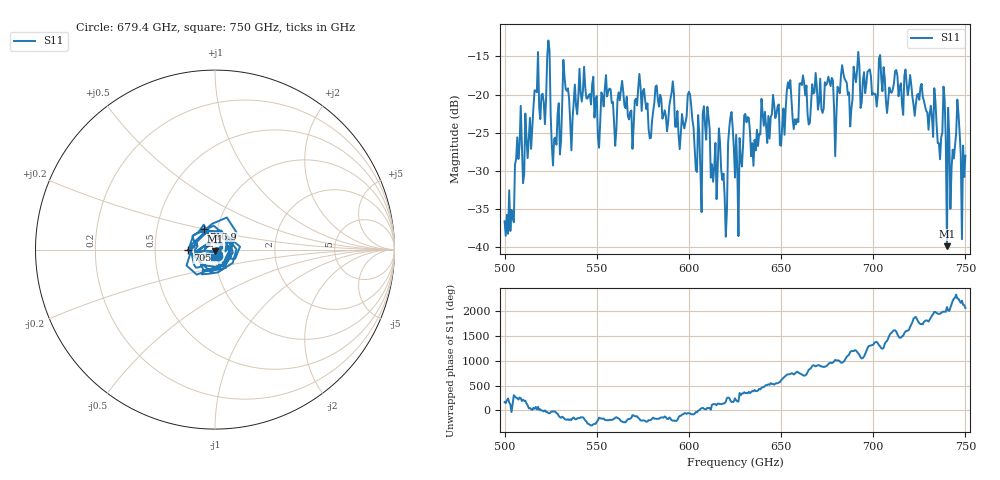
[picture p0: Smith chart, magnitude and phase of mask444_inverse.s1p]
!Created with skrf (http://scikit-rf.org).
# GHz S MA R 50.0
!freq magS11 angS11
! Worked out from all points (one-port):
!   401 points, 500 GHz to 750 GHz, reference 50 ohm
!   lowest |S11| = -39.9 dB at 740 GHz (marker M1), VSWR 1.02, Z = 50.2 - j0.995 ohm
!   |S11| at or under -10 dB: start of sweep to end of sweep
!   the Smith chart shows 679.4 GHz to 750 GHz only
!   S11 on the Smith chart (normalised r, x): 679.4 GHz: 1.03, -0.07; 705.6 GHz: 0.74, -0.00; 716.9 GHz: 0.86, +0.20; 750 GHz: 0.99, -0.08
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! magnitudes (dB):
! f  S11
! 500 GHz  -36.6
! 516.9 GHz  -19.5
! 520.6 GHz  -19.9
! 523.8 GHz  -12.9
! 526.9 GHz  -25.8
! 531.2 GHz  -21.2
! 562.5 GHz  -20.7
! 579.4 GHz  -25.6
! 590.6 GHz  -19.7
! 593.8 GHz  -22.1
! 600.6 GHz  -20.0
! 605.6 GHz  -25.2
! 609.4 GHz  -25.9
! 619.4 GHz  -33.3
! 622.5 GHz  -23.0
! 625 GHz  -30.9
! 656.2 GHz  -23.1
! 676.9 GHz  -18.9
! 679.4 GHz  -28.1
! 683.8 GHz  -17.2
! 687.5 GHz  -24.2
! 690.6 GHz  -18.4
! 705.6 GHz  -16.4
! 716.9 GHz  -17.6
! 718.8 GHz  -20.1
! 740 GHz  -39.9
! 745.6 GHz  -20.7
! 750 GHz  -28.0
